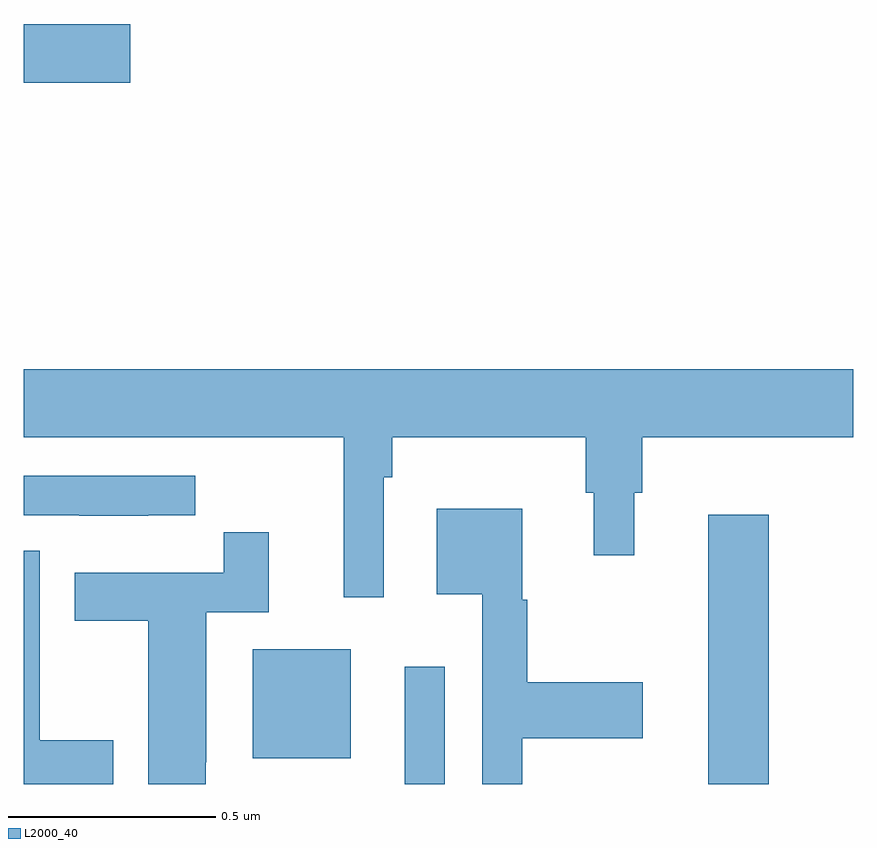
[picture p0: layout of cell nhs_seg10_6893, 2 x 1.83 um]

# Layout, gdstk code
import gdstk
lib = gdstk.Library(unit=1e-6, precision=1e-09)
def R(c, l, rs):  # rectangles x0, y0, x1, y1
    for r in rs: c.add(gdstk.rectangle(r[:2], r[2:], *l))
def P(c, l, *ps):  # polygons
    for p in ps: c.add(gdstk.Polygon(p, *l))
L2000_40 = (2000, 40)

nhs_seg10_6893 = lib.new_cell('nhs_seg10_6893')
R(nhs_seg10_6893, L2000_40, [(197.918,1279.5,198.015,1279.783), (198.65,1279.5,198.797,1280.149), (197.552,1279.562,197.788,1279.825), (197,1281.191,197.257,1281.333)])
P(nhs_seg10_6893, L2000_40, [(197.868,1280.24),(197.888,1280.24),(197.888,1280.336),(198.355,1280.336),(198.355,1280.202),(198.374,1280.202),(198.374,1280.052),(198.472,1280.052),(198.472,1280.202),(198.491,1280.202),(198.491,1280.336),(199,1280.336),(199,1280.5),(197,1280.5),(197,1280.336),(197.771,1280.336),(197.771,1279.95),(197.868,1279.95)],
  [(197.3,1280.148),(197.413,1280.148),(197.413,1280.244),(197,1280.244),(197,1280.148),(197.134,1280.148),(197.134,1280.147),(197.3,1280.147)],
  [(198.202,1279.61),(198.493,1279.61),(198.493,1279.745),(198.214,1279.745),(198.214,1279.944),(198.202,1279.944),(198.202,1280.164),(197.996,1280.164),(197.996,1279.958),(198.105,1279.958),(198.105,1279.5),(198.202,1279.5)],
  [(197.439,1279.552),(197.44,1279.552),(197.44,1279.914),(197.591,1279.914),(197.591,1280.107),(197.482,1280.107),(197.482,1280.01),(197.123,1280.01),(197.123,1279.894),(197.3,1279.894),(197.3,1279.5),(197.439,1279.5)],
  [(197.215,1279.605),(197.038,1279.605),(197.038,1280.063),(197,1280.063),(197,1279.5),(197.215,1279.5)])

lib.write_gds('nhs_seg10_6893.gds')
